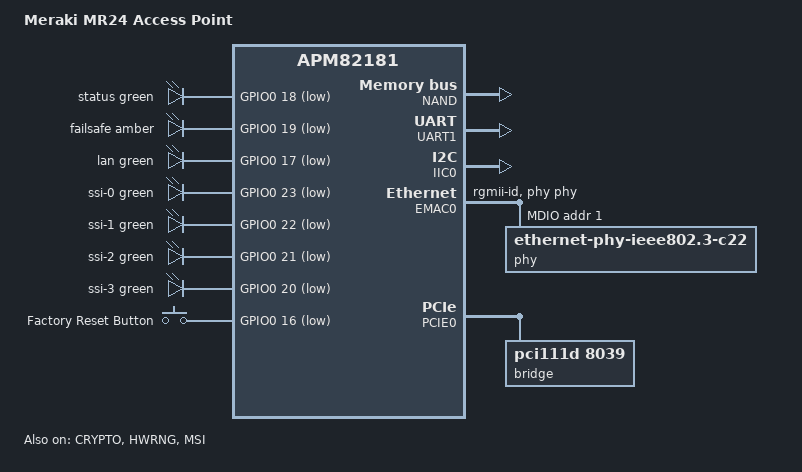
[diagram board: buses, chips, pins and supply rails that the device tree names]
// SPDX-License-Identifier: GPL-2.0-only
/*
 * Device Tree Source for Meraki MR24 (Ikarem)
 *
 * Copyright (C) 2016 Chris Blake <chrisrblake93@gmail.com>
 *
 * Based on Cisco Meraki GPL Release r23-20150601 MR24 DTS
 */

/dts-v1/;

#include <dt-bindings/leds/common.h>
#include "apm82181.dtsi"

/ {
	model = "Meraki MR24 Access Point";
	compatible = "meraki,mr24";

	aliases {
		serial0 = &UART1;
	};

	chosen {
		stdout-path = "/plb/opb/serial@ef600400";
	};
};

&CRYPTO {
	status = "okay";
};

&HWRNG {
	status = "okay";
};

&NAND {
	status = "okay";

	/* 32 MiB NAND Flash */
	nand {
		partition@0 {
			label = "u-boot";
			reg = <0x00000000 0x00150000>;
			read-only;
		};

		partition@150000 {
			/*
			 * The u-boot environment size is one NAND
			 * block (16KiB). u-boot allocates four NAND
			 * blocks (64KiB) in order to have spares
			 * around for bad block management
			 */
			label = "u-boot-env";
			reg = <0x00150000 0x00010000>;
			read-only;
		};

		partition@160000 {
			/*
			 * redundant u-boot environment.
			 * has to be kept it in sync with the
			 * data in "u-boot-env".
			 */
			label = "u-boot-env-redundant";
			reg = <0x00160000 0x00010000>;
			read-only;
		};

		partition@170000 {
			label = "oops";
			reg = <0x00170000 0x00010000>;
		};

		partition@180000 {
			label = "ubi";
			reg = <0x00180000 0x01e80000>;
		};
	};
};

&UART1 {
	status = "okay";
};

&GPIO0 {
	status = "okay";
};

&IIC0 {
	status = "okay";
	/* Boot ROM is at 0x52-0x53, do not touch */
	/* Unknown chip at 0x6e, not sure what it is */
};

&EMAC0 {
	status = "okay";

	phy-mode = "rgmii-id";
	phy-map = <0x2>;
	phy-address = <0x1>;
	phy-handle = <&phy>;

	mdio {
		#address-cells = <1>;
		#size-cells = <0>;

		phy: phy@1 {
			compatible = "ethernet-phy-ieee802.3-c22";
			reg = <1>;
		};
	};
};

&POB0 {
	leds {
		compatible = "gpio-leds";

		status: power-green {
			function = LED_FUNCTION_POWER;
			color = <LED_COLOR_ID_GREEN>;
			gpios = <&GPIO0 18 GPIO_ACTIVE_LOW>;
		};

		failsafe: power-amber {
			function = LED_FUNCTION_FAULT;
			color = <LED_COLOR_ID_AMBER>;
			gpios = <&GPIO0 19 GPIO_ACTIVE_LOW>;
		};

		lan {
			function = LED_FUNCTION_WAN;
			color = <LED_COLOR_ID_GREEN>;
			gpios = <&GPIO0 17 GPIO_ACTIVE_LOW>;
		};

		/* signal strength indicator */
		ssi-0 {
			function = LED_FUNCTION_INDICATOR;
			color = <LED_COLOR_ID_GREEN>;
			gpios = <&GPIO0 23 GPIO_ACTIVE_LOW>;
		};

		ssi-1 {
			function = LED_FUNCTION_INDICATOR;
			color = <LED_COLOR_ID_GREEN>;
			gpios = <&GPIO0 22 GPIO_ACTIVE_LOW>;
		};

		ssi-2 {
			function = LED_FUNCTION_INDICATOR;
			color = <LED_COLOR_ID_GREEN>;
			gpios = <&GPIO0 21 GPIO_ACTIVE_LOW>;
		};

		ssi-3 {
			function = LED_FUNCTION_INDICATOR;
			color = <LED_COLOR_ID_GREEN>;
			gpios = <&GPIO0 20 GPIO_ACTIVE_LOW>;
		};
	};

	keys {
		compatible = "gpio-keys";

		reset {
			/* Label as per Meraki's "MR24 Installation Guide" */
			label = "Factory Reset Button";
			linux,code = <KEY_RESTART>;
			interrupt-parent = <&UIC1>;
			interrupts = <0x15 IRQ_TYPE_EDGE_FALLING>;
			gpios = <&GPIO0 16 GPIO_ACTIVE_LOW>;
			debounce-interval = <60>;
		};
	};
};

&PCIE0 {
	status = "okay";
	/*
	 * relevant lspci topology:
	 *
	 *	-+-[0000:40]---00.0-[41-7f]----00.0-[42-45]--+-02.0-[43]----00.0
	 *	                                             +-03.0-[44]----00.0
	 *
	 */

	bridge@40,0 {
		reg = <0x00400000 0 0 0 0>;
		#address-cells = <3>;
		#size-cells = <2>;
		ranges;

		bridge@41,0 {
			/* IDT PES3T3 PCI Express Switch */
			compatible = "pci111d,8039";
			reg = <0x00410000 0 0 0 0>;
			#address-cells = <3>;
			#size-cells = <2>;
			ranges;

			bridge@42,2 {
				compatible = "pci111d,8039";
				reg = <0x00421000 0 0 0 0>;
				#address-cells = <3>;
				#size-cells = <2>;
				ranges;

				wifi0: wifi@43,0 {
					/* Atheros AR9380 2.4GHz */
					compatible = "pci168c,0030";
					reg = <0x00430000 0 0 0 0>;
					interrupts = <3>; /* INTC */
				};
			};

			bridge@42,3 {
				compatible = "pci111d,8039";
				reg = <0x00421800 0 0 0 0>;
				#address-cells = <3>;
				#size-cells = <2>;
				ranges;

				wifi1: wifi@44,0 {
					/* Atheros AR9380 5GHz */
					compatible = "pci168c,0030";
					reg = <0x00440000 0 0 0 0>;
					interrupts = <4>; /* INTD */
				};
			};
		};
	};
};

&MSI {
	status = "okay";
};
